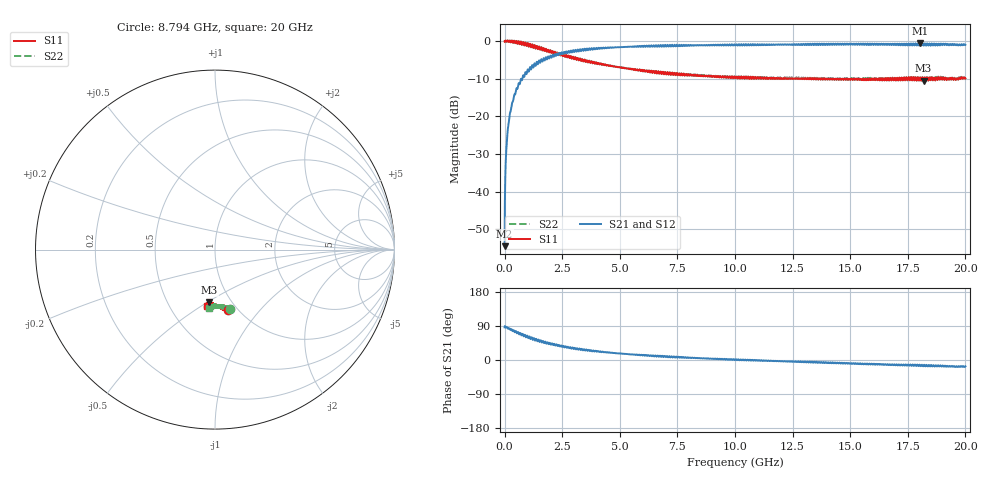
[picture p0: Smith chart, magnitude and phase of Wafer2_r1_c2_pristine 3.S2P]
!  2-Port S-parameters saved by WinCal
! VAR MeasName=S-Parameters (CALIBRATED_DATA) read from VNA (P5004A)
! VAR MeasDate=24/04/2024 15:57:08
! VAR NAME=Wafer2_r1_c2_pristine 3
! VAR FILENAME=Wafer2_r1_c2_pristine 3.S2P
! VAR DATE=24/04/2024 15:57:08
! VAR PHYS_PORTS=1,2
! VAR ObjTypeName=DATASET
! VAR IndexType=Frequency
# Hz S MA R 50
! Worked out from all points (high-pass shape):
!   4999 points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, 4.01 MHz to 20 GHz, reference 50 ohm
!   highest |S21| = -0.62 dB at 18.04 GHz (marker M1); lowest = -54.5 dB at 4.01 MHz (marker M2)
!   |S21| within 3 dB of the highest: 2.258 GHz to 2.314 GHz (55.99 MHz wide, 2.45 % of centre); 2.346 GHz to end of sweep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
!   lowest |S11| = -10.6 dB at 18.19 GHz (marker M3), VSWR 1.84, Z = 39.6 - j25.6 ohm
!   |S11| at or under -10 dB: 14.45 GHz to 14.55 GHz (93.83 MHz wide, 0.647 % of centre); 14.75 GHz to 15.14 GHz (392.1 MHz wide, 2.62 % of centre); 15.35 GHz to 15.74 GHz (387.7 MHz wide, 2.49 % of centre)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
!   |S22| runs from -10.3 to 0.1 dB; largest |S21 - S12| = 0.015
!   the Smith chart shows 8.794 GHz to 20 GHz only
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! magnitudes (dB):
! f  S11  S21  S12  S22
! 4.01 MHz  -0.1  -54.5  -54.5  -0.1
! 40.02 MHz  0.1  -34.4  -34.4  0.1
! 112 MHz  0.0  -25.8  -25.7  0.0
! 140 MHz  0.1  -23.6  -23.7  0.1
! 180 MHz  -0.2  -21.9  -21.9  -0.2
! 248.1 MHz  -0.1  -18.9  -19.0  0.0
! 348.1 MHz  -0.2  -16.2  -16.3  -0.2
! 464.1 MHz  -0.6  -14.1  -14.1  -0.6
! 624.1 MHz  -0.1  -11.2  -11.2  -0.2
! 824.2 MHz  -0.5  -9.2  -9.2  -0.5
! 1.04 GHz  -1.3  -8.1  -8.1  -1.3
! 1.564 GHz  -2.1  -5.5  -5.5  -2.1
! 2.348 GHz  -3.5  -3.6  -3.6  -3.6
! 3.341 GHz  -5.1  -2.5  -2.5  -5.1
! 4.797 GHz  -6.8  -1.6  -1.7  -6.7
! 6.673 GHz  -8.0  -1.1  -1.1  -8.1
! 10 GHz  -9.8  -1.1  -1.2  -9.7
! 13.33 GHz  -10.0  -1.0  -1.0  -9.9
! 16.67 GHz  -10.3  -0.9  -0.9  -9.9
! 18.04 GHz  -9.6  -0.6  -0.6  -9.9
! 18.19 GHz  -10.6  -1.2  -1.2  -10.1
! 20 GHz  -9.9  -1.0  -1.0  -9.7
